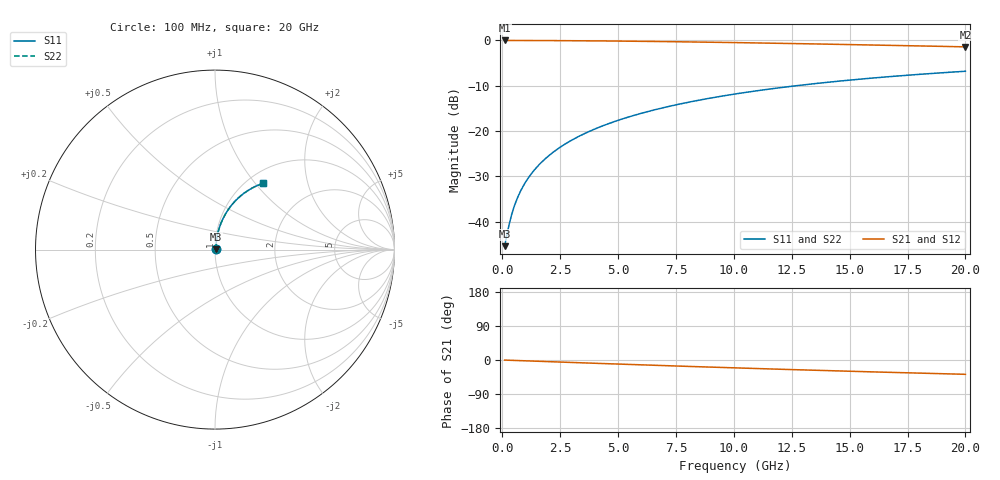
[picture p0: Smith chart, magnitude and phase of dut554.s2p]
! Touchstone file exported from HFSS 2024.1.0
!  File:  C:/UserFiles/LocalFiles/RDL_TSV_Batchsim/temp_RDL_top_554_1779681036.aedt
!  Generated:  11:52:51 AM May 25, 2026
!  Design:  RDL_top
!  Project:  temp_RDL_top_554_1779681036
!  Setup:  Setup1
!  Solution:  Sweep
! Variables:
!  dtsv = 10.80580581um
!  hbump = 3um
!  htsv = 81.05um
!  ldown = 100um
!  lrdl = 453.88um
!  p = 40
!  p1 = 49.44um
!  rhole = 1um
!  t = 450um
!  tdown = 3.915915916um
!  trdl = 3.33um
!  wdown = 15.38538539um
!  wrdl = 10.56um
# GHz S MA R 50.000000
! Terminal data exported
! Port[1] = Box2_T1
! Port[2] = Box2_T2
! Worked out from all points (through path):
!   200 points, 100 MHz to 20 GHz, reference 50 ohm
!   highest |S21| = -0.04 dB at 100 MHz (marker M1); lowest = -1.5 dB at 20 GHz (marker M2)
!   group delay of S21, straight-line fit = 5.25 ps
!   lowest |S11| = -45.4 dB at 100 MHz (marker M3), VSWR 1.01, Z = 50.5 + j0.274 ohm
!   |S11| at or under -10 dB: start of sweep to 12.73 GHz
!   |S22| runs from -45.4 to -6.8 dB; largest |S21 - S12| = 3.1e-15
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0.1  0.005371 30.4  0.9954 -0.2  0.9954 -0.2  0.005371 30.4
! Gamma 0 0 0 0
! Port Impedance 50 0 50 0
0.3  0.00942 59.4  0.9952 -0.7  0.9952 -0.7  0.00942 59.4
0.4  0.01185 65.5  0.9951 -0.9  0.9951 -0.9  0.01185 65.5
0.5  0.01435 69.4  0.995 -1.1  0.995 -1.1  0.01435 69.4
0.6  0.01689 72.1  0.9949 -1.3  0.9949 -1.3  0.01689 72.1
0.8  0.02202 75.4  0.9946 -1.8  0.9946 -1.8  0.02202 75.4
1.1  0.02977 78.1  0.9941 -2.4  0.9941 -2.4  0.02977 78.1
1.3  0.03496 79.1  0.9938 -2.9  0.9938 -2.9  0.03496 79.1
1.5  0.04016 79.8  0.9934 -3.3  0.9934 -3.3  0.04016 79.8
1.8  0.04797 80.4  0.9928 -3.9  0.9928 -3.9  0.04797 80.4
2.1  0.05578 80.7  0.992 -4.6  0.992 -4.6  0.05578 80.7
2.7  0.07143 80.8  0.9903 -5.9  0.9903 -5.9  0.07143 80.8
3.5  0.09225 80.2  0.9873 -7.6  0.9873 -7.6  0.09225 80.2
4.2  0.1104 79.4  0.9842 -9.1  0.9842 -9.1  0.1104 79.4
5  0.131 78.4  0.98 -10.7  0.98 -10.7  0.131 78.4
5.9  0.154 77.0  0.9747 -12.6  0.9747 -12.6  0.154 77.0
6.8  0.1767 75.6  0.9687 -14.4  0.9687 -14.4  0.1767 75.6
8.3  0.2138 73.1  0.9577 -17.4  0.9577 -17.4  0.2138 73.1
10.1  0.2568 70.1  0.9428 -20.9  0.9428 -20.9  0.2568 70.1
13.4  0.3306 64.5  0.9124 -26.9  0.9124 -26.9  0.3306 64.5
16.7  0.397 59.2  0.8797 -32.5  0.8797 -32.5  0.3969 59.2
20  0.4554 54.1  0.8462 -37.8  0.8462 -37.8  0.4554 54.1
